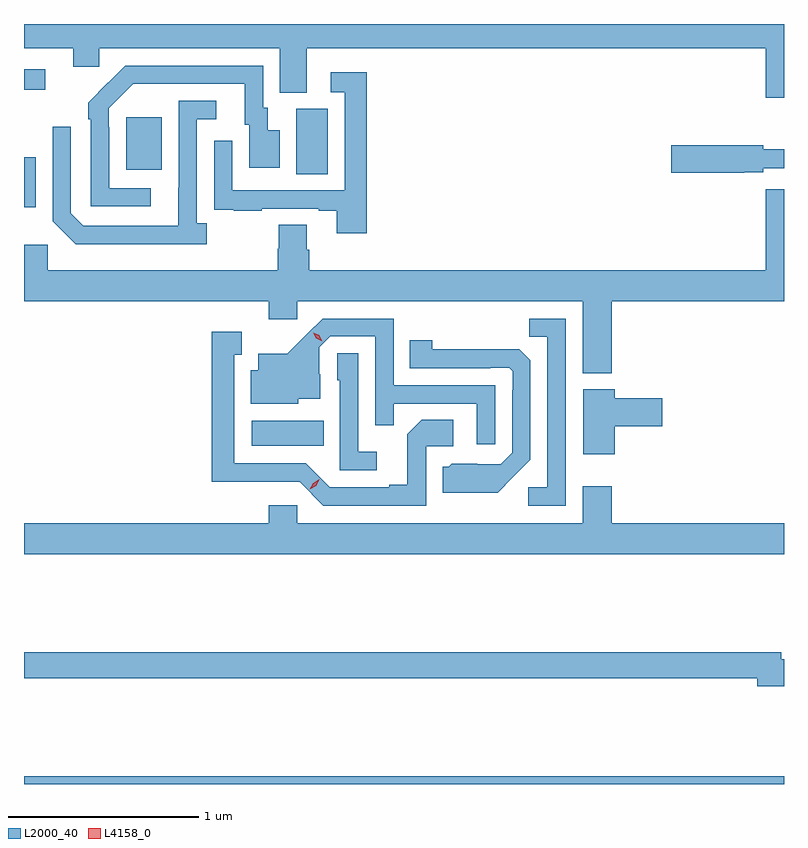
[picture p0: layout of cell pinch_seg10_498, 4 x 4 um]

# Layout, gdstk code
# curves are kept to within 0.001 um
import gdstk
lib = gdstk.Library(unit=1e-6, precision=1e-09)
def R(c, l, rs):  # rectangles x0, y0, x1, y1
    for r in rs: c.add(gdstk.rectangle(r[:2], r[2:], *l))
def P(c, l, *ps):  # polygons
    for p in ps: c.add(gdstk.Polygon(p, *l))
L2000_40 = (2000, 40)
L4158_0 = (4158, 0)

pinch_seg10_498 = lib.new_cell('pinch_seg10_498')
R(pinch_seg10_498, L2000_40, [(230.084,1265.807,234.084,1265.848), (231.282,1267.586,231.662,1267.72), (230.084,1268.842,230.146,1269.106), (231.518,1269.016,231.682,1269.36), (230.621,1269.041,230.809,1269.316), (230.084,1269.462,230.197,1269.57)])
P(pinch_seg10_498, L2000_40, [(234.084,1269.807),(230.084,1269.807),(230.084,1269.68),(230.342,1269.68),(230.342,1269.582),(230.481,1269.582),(230.481,1269.68),(231.431,1269.68),(231.431,1269.445),(231.571,1269.445),(231.571,1269.68),(233.989,1269.68),(233.989,1269.42),(234.084,1269.42)],
  [(230.752,1268.943),(230.532,1268.943),(230.532,1269.263),(230.529,1269.263),(230.529,1269.363),(230.658,1269.492),(231.245,1269.492),(231.245,1269.276),(231.269,1269.276),(231.269,1269.051),(231.43,1269.051),(231.43,1269.247),(231.367,1269.247),(231.367,1269.366),(231.342,1269.366),(231.342,1269.588),(230.618,1269.588),(230.421,1269.393),(230.421,1269.305),(230.436,1269.305),(230.436,1268.847),(230.752,1268.847)],
  [(231.887,1269.553),(231.699,1269.553),(231.699,1269.447),(231.771,1269.447),(231.771,1268.931),(231.18,1268.931),(231.18,1269.193),(231.084,1269.193),(231.084,1268.938),(231.085,1268.938),(231.085,1268.829),(231.187,1268.829),(231.187,1268.823),(231.335,1268.823),(231.335,1268.835),(231.635,1268.835),(231.635,1268.823),(231.731,1268.823),(231.731,1268.706),(231.887,1268.706)],
  [(231.046,1268.758),(230.994,1268.758),(230.994,1269.306),(231.097,1269.306),(231.097,1269.402),(230.898,1269.402),(230.897,1268.745),(230.397,1268.745),(230.331,1268.811),(230.331,1269.265),(230.235,1269.265),(230.235,1268.769),(230.356,1268.648),(231.046,1268.648)],
  [(233.874,1269.028),(233.974,1269.028),(233.974,1269.048),(234.084,1269.048),(234.084,1269.149),(233.974,1269.149),(233.974,1269.17),(233.49,1269.17),(233.49,1269.023),(233.874,1269.023)],
  [(231.424,1268.75),(231.424,1268.625),(231.419,1268.625),(231.419,1268.512),(230.208,1268.512),(230.208,1268.644),(230.084,1268.644),(230.084,1268.348),(231.371,1268.348),(231.371,1268.253),(231.522,1268.253),(231.522,1268.348),(233.024,1268.348),(233.024,1267.97),(233.177,1267.97),(233.177,1268.348),(234.084,1268.348),(234.084,1268.938),(233.987,1268.938),(233.987,1268.512),(231.584,1268.512),(231.584,1268.618),(231.571,1268.618),(231.571,1268.75)],
  [(232.563,1267.905),(232.029,1267.905),(232.029,1268.256),(231.656,1268.256),(231.469,1268.071),(231.317,1268.071),(231.317,1267.984),(231.278,1267.984),(231.278,1267.808),(231.528,1267.808),(231.528,1267.835),(231.643,1267.835),(231.643,1267.964),(231.639,1267.964),(231.639,1268.106),(231.696,1268.163),(231.933,1268.163),(231.933,1267.696),(232.031,1267.696),(232.031,1267.809),(232.467,1267.809),(232.467,1267.596),(232.563,1267.596)],
  [(232.935,1268.256),(232.744,1268.256),(232.744,1268.161),(232.839,1268.161),(232.839,1267.368),(232.737,1267.368),(232.737,1267.272),(232.935,1267.272)],
  [(232.2,1267.584),(232.342,1267.584),(232.342,1267.724),(232.177,1267.724),(232.101,1267.648),(232.101,1267.381),(232.007,1267.381),(232.007,1267.368),(231.693,1267.368),(231.567,1267.494),(231.19,1267.494),(231.19,1268.067),(231.229,1268.067),(231.229,1268.188),(231.072,1268.188),(231.072,1267.397),(231.534,1267.398),(231.66,1267.272),(232.2,1267.272)],
  [(232.657,1267.421),(232.749,1267.514),(232.749,1268.036),(232.69,1268.095),(232.233,1268.096),(232.233,1268.143),(232.114,1268.143),(232.114,1267.995),(232.538,1267.995),(232.538,1267.998),(232.638,1267.998),(232.656,1267.98),(232.656,1267.88),(232.653,1267.88),(232.653,1267.551),(232.593,1267.491),(232.336,1267.492),(232.32,1267.476),(232.289,1267.476),(232.289,1267.34),(232.577,1267.34)],
  [(231.94,1267.555),(231.843,1267.555),(231.843,1268.075),(231.732,1268.075),(231.732,1267.932),(231.747,1267.932),(231.747,1267.458),(231.94,1267.458)],
  [(233.194,1267.691),(233.443,1267.691),(233.443,1267.838),(233.194,1267.838),(233.194,1267.885),(233.027,1267.885),(233.027,1267.542),(233.194,1267.542)],
  [(234.084,1267.18),(233.177,1267.18),(233.177,1267.375),(233.024,1267.375),(233.024,1267.18),(231.522,1267.18),(231.522,1267.273),(231.371,1267.273),(231.371,1267.18),(230.084,1267.18),(230.084,1267.016),(234.084,1267.016)],
  [(234.084,1266.464),(234.07,1266.464),(234.07,1266.5),(230.084,1266.5),(230.084,1266.364),(233.942,1266.364),(233.942,1266.322),(234.084,1266.322)])
P(pinch_seg10_498, L4158_0, [(231.654,1268.138),(231.623,1268.153),(231.606,1268.182),(231.606,1268.182),(231.606,1268.182),(231.637,1268.168),(231.654,1268.138),(231.654,1268.138)],
  [(231.589,1267.358),(231.589,1267.358),(231.606,1267.39),(231.637,1267.41),(231.638,1267.41),(231.638,1267.41),(231.621,1267.377),(231.589,1267.358)])

lib.write_gds('pinch_seg10_498.gds')
